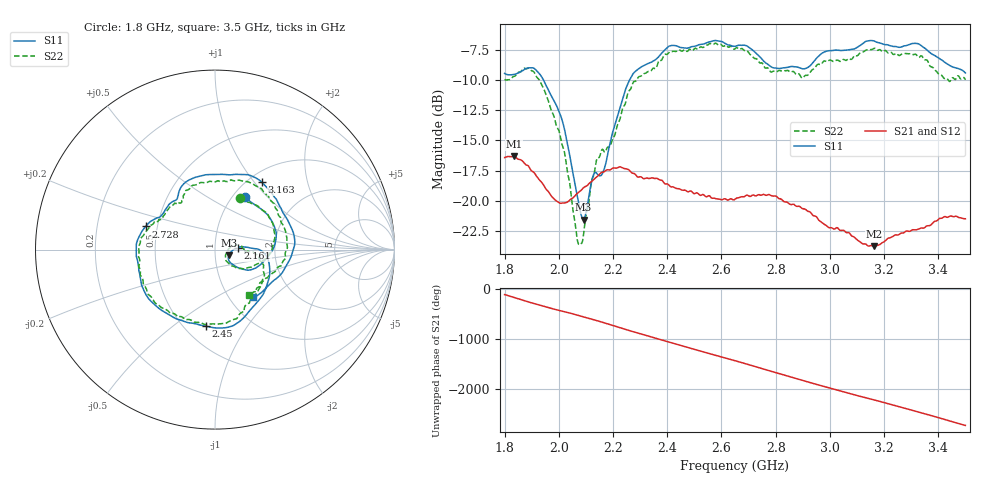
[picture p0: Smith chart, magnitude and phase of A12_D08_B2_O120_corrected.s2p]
! Created with skrf 1.9.0 (http://scikit-rf.org).
# Hz S RI R 50.0
!freq ReS11 ImS11 ReS21 ImS21 ReS12 ImS12 ReS22 ImS22
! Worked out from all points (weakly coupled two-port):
!   1601 points, 1.8 GHz to 3.5 GHz, reference 50 ohm
!   highest |S21| = -16.32 dB at 1.835 GHz (marker M1); lowest = -23.7 dB at 3.163 GHz (marker M2)
!   lowest |S11| = -21.5 dB at 2.091 GHz (marker M3), VSWR 1.18, Z = 58.3 - j3.65 ohm
!   |S11| at or under -10 dB: 1.943 GHz to 2.261 GHz (318 MHz wide, 15.1 % of centre)
!   |S22| runs from -23.6 to -7.0 dB; largest |S21 - S12| = 0.003
!   S11 on the Smith chart (normalised r, x): 1.8 GHz: 1.13, +0.75; 2.161 GHz: 1.30, +0.02; 2.45 GHz: 0.63, -0.67; 2.728 GHz: 0.43, +0.13; 3.163 GHz: 1.15, +1.09; 3.5 GHz: 1.28, -0.76
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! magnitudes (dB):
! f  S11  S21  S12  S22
! 1.8 GHz  -9.5  -16.4  -16.4  -10.0
! 1.835 GHz  -9.5  -16.3  -16.3  -9.7
! 1.895 GHz  -9.0  -17.4  -17.3  -9.1
! 1.95 GHz  -10.3  -18.9  -18.9  -11.0
! 2.014 GHz  -13.4  -20.2  -20.2  -15.5
! 2.068 GHz  -19.5  -19.4  -19.4  -23.2
! 2.084 GHz  -21.3  -19.1  -19.0  -23.5
! 2.091 GHz  -21.5  -18.9  -19.0  -22.8
! 2.128 GHz  -17.8  -18.3  -18.2  -17.9
! 2.161 GHz  -17.7  -17.6  -17.6  -15.7
! 2.196 GHz  -14.5  -17.3  -17.3  -15.0
! 2.261 GHz  -10.0  -17.5  -17.5  -10.9
! 2.367 GHz  -8.1  -18.2  -18.2  -8.5
! 2.45 GHz  -7.3  -19.1  -19.1  -7.6
! 2.65 GHz  -7.2  -19.9  -19.8  -7.4
! 2.728 GHz  -7.8  -19.6  -19.6  -8.2
! 2.797 GHz  -9.0  -19.6  -19.6  -9.3
! 2.934 GHz  -8.7  -21.1  -21.1  -9.2
! 3.163 GHz  -6.8  -23.7  -23.7  -7.4
! 3.217 GHz  -7.1  -23.1  -23.0  -7.8
! 3.326 GHz  -7.0  -22.3  -22.3  -8.1
! 3.5 GHz  -9.4  -21.5  -21.5  -10.0
